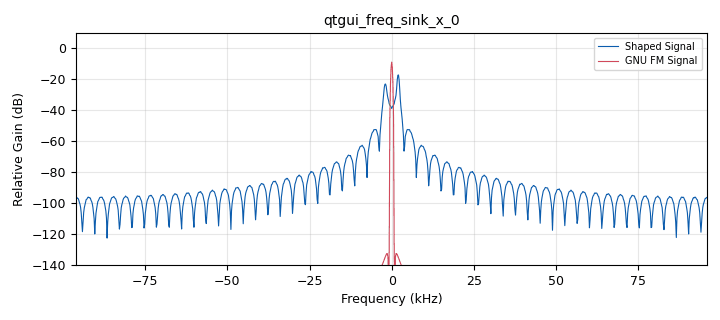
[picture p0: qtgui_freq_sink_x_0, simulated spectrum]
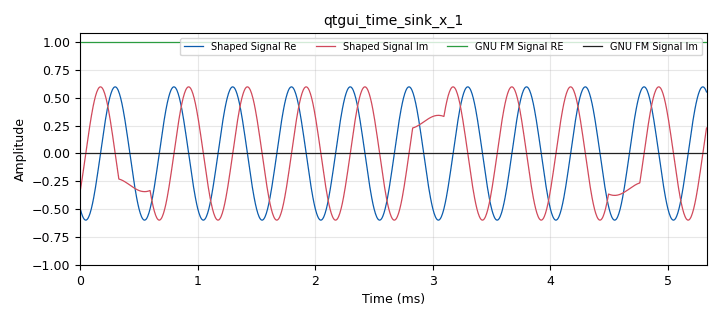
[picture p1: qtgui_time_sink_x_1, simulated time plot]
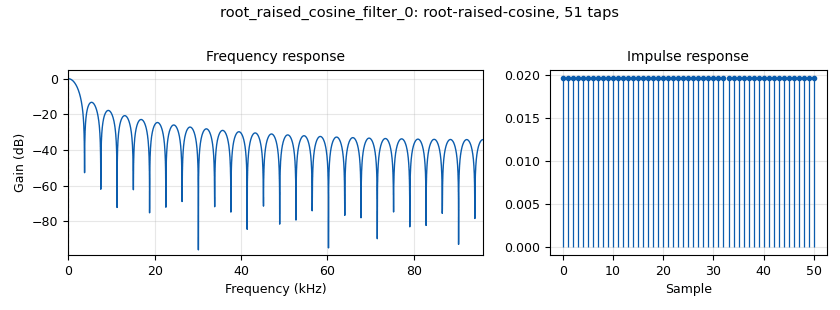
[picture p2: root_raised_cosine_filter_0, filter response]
options:
  parameters:
    author: Manolis Surligas
    generate_options: qt_gui
    id: simplified_fsk
    output_language: python
    title: simplified_fsk
  states: {}

blocks:
- name: samp_rate
  id: variable
  parameters:
    value: '192000'
  states: {}
- name: sensitivity
  id: variable_qtgui_range
  parameters:
    start: '0'
    step: '1'
    stop: '100'
    value: '0'
  states: {}
- name: symbol_duration
  id: variable
  parameters:
    value: '160'
  states: {}
- name: analog_const_source_x_0
  id: analog_const_source_x
  parameters:
    const: '1'
    type: complex
  states: {}
- name: analog_frequency_modulator_fc_0
  id: analog_frequency_modulator_fc
  parameters:
    sensitivity: sensitivity
  states: {}
- name: analog_random_source_x_0
  id: analog_random_source_x
  parameters:
    max: '2'
    min: '0'
    num_samps: '1000'
    repeat: 'True'
    type: byte
  states: {}
- name: analog_sig_source_x_0
  id: analog_sig_source_x
  parameters:
    amp: '1'
    freq: '-2e3'
    offset: '0'
    phase: '0'
    samp_rate: samp_rate
    type: complex
    waveform: analog.GR_COS_WAVE
  states: {}
- name: analog_sig_source_x_0_0
  id: analog_sig_source_x
  parameters:
    amp: '1'
    freq: 2e3
    offset: '0'
    phase: '0'
    samp_rate: samp_rate
    type: complex
    waveform: analog.GR_COS_WAVE
  states: {}
- name: blocks_add_xx_0
  id: blocks_add_xx
  parameters:
    type: complex
  states: {}
- name: blocks_float_to_complex_0
  id: blocks_float_to_complex
  parameters: {}
  states: {}
- name: blocks_multiply_xx_0
  id: blocks_multiply_xx
  parameters:
    type: complex
  states: {}
- name: blocks_multiply_xx_0_0
  id: blocks_multiply_xx
  parameters:
    type: complex
  states: {}
- name: blocks_repeat_0
  id: blocks_repeat
  parameters:
    comment: Increase symbol duration
    interp: symbol_duration
    type: byte
  states: {}
- name: blocks_sub_xx_0
  id: blocks_sub_xx
  parameters:
    type: complex
  states: {}
- name: blocks_throttle2_0
  id: blocks_throttle2
  parameters:
    samples_per_second: samp_rate
    type: complex
  states: {}
- name: blocks_throttle2_0_0
  id: blocks_throttle2
  parameters:
    samples_per_second: samp_rate
    type: byte
  states: {}
- name: blocks_uchar_to_float_0
  id: blocks_uchar_to_float
  parameters: {}
  states: {}
- name: qtgui_freq_sink_x_0
  id: qtgui_freq_sink_x
  parameters:
    bw: samp_rate
    fc: '0'
    fftsize: '1024'
    label1: Shaped Signal
    label2: GNU FM Signal
    nconnections: '2'
    type: complex
  states: {}
- name: qtgui_time_sink_x_1
  id: qtgui_time_sink_x
  parameters:
    label1: Shaped Signal Re
    label2: Shaped Signal Im
    label3: GNU FM Signal RE
    label4: GNU FM Signal Im
    nconnections: '2'
    size: '1024'
    srate: samp_rate
    type: complex
  states: {}
- name: root_raised_cosine_filter_0
  id: root_raised_cosine_filter
  parameters:
    alpha: '0.35'
    decim: '1'
    gain: '1'
    ntaps: '50'
    samp_rate: samp_rate
    sym_rate: '1.0'
    type: fir_filter_ccf
  states: {}

connections:
- [analog_const_source_x_0, '0', blocks_sub_xx_0, '0']
- [analog_frequency_modulator_fc_0, '0', qtgui_freq_sink_x_0, '1']
- [analog_frequency_modulator_fc_0, '0', qtgui_time_sink_x_1, '1']
- [analog_random_source_x_0, '0', blocks_throttle2_0_0, '0']
- [analog_sig_source_x_0, '0', blocks_throttle2_0, '0']
- [analog_sig_source_x_0_0, '0', blocks_multiply_xx_0_0, '1']
- [blocks_add_xx_0, '0', root_raised_cosine_filter_0, '0']
- [blocks_float_to_complex_0, '0', blocks_multiply_xx_0, '0']
- [blocks_float_to_complex_0, '0', blocks_sub_xx_0, '1']
- [blocks_multiply_xx_0, '0', blocks_add_xx_0, '0']
- [blocks_multiply_xx_0_0, '0', blocks_add_xx_0, '1']
- [blocks_repeat_0, '0', blocks_uchar_to_float_0, '0']
- [blocks_sub_xx_0, '0', blocks_multiply_xx_0_0, '0']
- [blocks_throttle2_0, '0', blocks_multiply_xx_0, '1']
- [blocks_throttle2_0_0, '0', blocks_repeat_0, '0']
- [blocks_uchar_to_float_0, '0', analog_frequency_modulator_fc_0, '0']
- [blocks_uchar_to_float_0, '0', blocks_float_to_complex_0, '0']
- [root_raised_cosine_filter_0, '0', qtgui_freq_sink_x_0, '0']
- [root_raised_cosine_filter_0, '0', qtgui_time_sink_x_1, '0']

metadata:
  file_format: 1
  grc_version: 3.10.7.0
